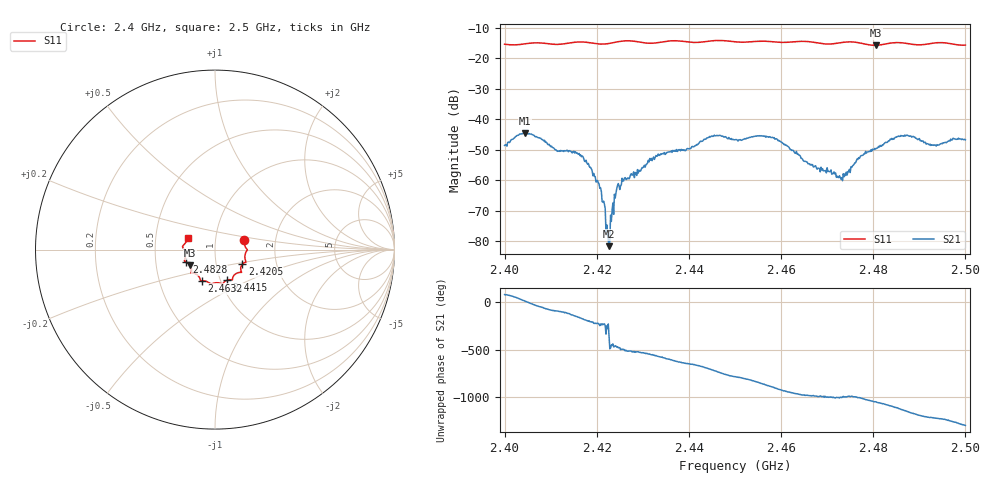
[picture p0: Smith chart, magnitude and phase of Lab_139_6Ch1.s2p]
# Hz S RI R 50
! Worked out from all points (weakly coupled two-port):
!   601 points, 2.4 GHz to 2.5 GHz, reference 50 ohm
!   highest |S21| = -44.48 dB at 2.4045 GHz (marker M1); lowest = -81.6 dB at 2.4227 GHz (marker M2)
!   lowest |S11| = -15.7 dB at 2.4805 GHz (marker M3), VSWR 1.39, Z = 37.3 - j6.68 ohm
!   |S11| at or under -10 dB: start of sweep to end of sweep
!   S12 and S22 are empty: the file has one direction only
!   S11 on the Smith chart (normalised r, x): 2.4 GHz: 1.38, +0.15; 2.4205 GHz: 1.34, -0.22; 2.4415 GHz: 1.07, -0.38; 2.4632 GHz: 0.82, -0.29; 2.4828 GHz: 0.72, -0.10; 2.5 GHz: 0.73, +0.10
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2.4e9  0.163 0.0515  0.000524 0.0037  0 0  0 0
2.4045e9  0.1736 0.00698  0.00585 0.0012  0 0  0 0
2.416667e9  0.173 -0.0696  -0.00242 -0.00034  0 0  0 0
2.4205e9  0.1518 -0.0815  -0.000534 0.000686  0 0  0 0
2.421333e9  0.1473 -0.0885  -0.000232 0.00037  0 0  0 0
2.422333e9  0.1439 -0.0984  2e-05 0.000147  0 0  0 0
2.422667e9  0.1432 -0.1019  8.33e-05 -4.03e-06  0 0  0 0
2.424333e9  0.1447 -0.1173  -0.000318 -0.000655  0 0  0 0
2.425e9  0.1462 -0.1216  -0.000371 -0.000603  0 0  0 0
2.433333e9  0.1005 -0.1516  -0.00226 0.00149  0 0  0 0
2.4415e9  0.0654 -0.1708  0.00215 0.00306  0 0  0 0
2.4455e9  0.0424 -0.1912  0.00549 -0.000469  0 0  0 0
2.45e9  0.0243 -0.186  0.00176 -0.00429  0 0  0 0
2.458e9  -0.0312 -0.1855  -0.00504 -0.000419  0 0  0 0
2.463167e9  -0.0732 -0.1741  -0.00113 0.00254  0 0  0 0
2.466667e9  -0.0817 -0.167  7.65e-05 0.00178  0 0  0 0
2.472833e9  -0.1252 -0.1303  0.000294 0.00108  0 0  0 0
2.4805e9  -0.139 -0.0871  0.00294 0.00144  0 0  0 0
2.482833e9  -0.1588 -0.0701  0.00418 -0.000335  0 0  0 0
2.483333e9  -0.1627 -0.0682  0.00438 -0.000782  0 0  0 0
2.487167e9  -0.1682 -0.0542  0.00168 -0.00522  0 0  0 0
2.5e9  -0.1525 0.0645  -0.00333 0.00322  0 0  0 0
